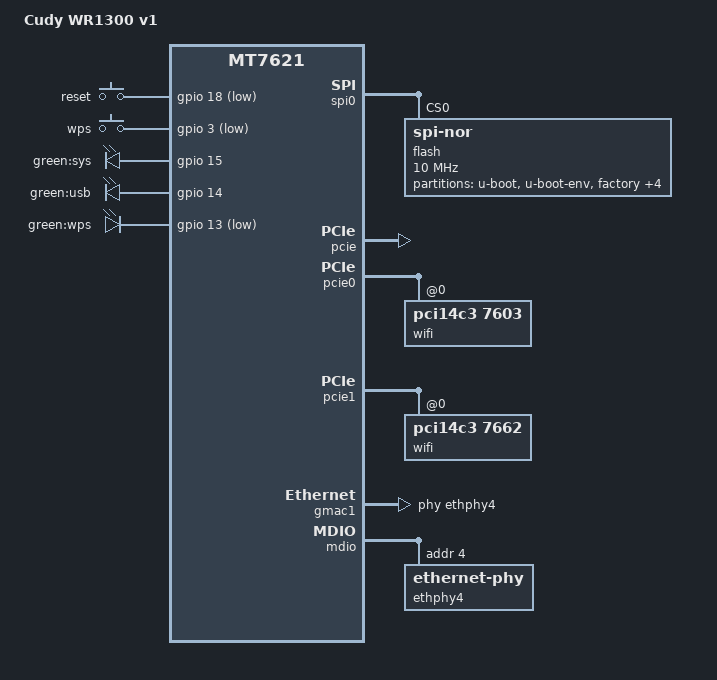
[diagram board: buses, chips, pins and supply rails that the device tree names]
// SPDX-License-Identifier: GPL-2.0-or-later OR MIT

#include "mt7621.dtsi"

#include <dt-bindings/input/input.h>
#include <dt-bindings/gpio/gpio.h>

/ {
	compatible = "cudy,wr1300-v1", "mediatek,mt7621-soc";
	model = "Cudy WR1300 v1";

	aliases {
		led-boot = &led_sys;
		led-failsafe = &led_sys;
		led-running = &led_sys;
		led-upgrade = &led_sys;
		label-mac-device = &gmac0;
	};

	chosen {
		bootargs = "console=ttyS0,115200";
	};

	keys {
		compatible = "gpio-keys";

		reset {
			label = "reset";
			gpios = <&gpio 18 GPIO_ACTIVE_LOW>;
			linux,code = <KEY_RESTART>;
		};

		wps {
			label = "wps";
			gpios = <&gpio 3 GPIO_ACTIVE_LOW>;
			linux,code = <KEY_WPS_BUTTON>;
		};
	};

	leds {
		compatible = "gpio-leds";

		led_sys: sys {
			label = "green:sys";
			gpios = <&gpio 15 GPIO_ACTIVE_HIGH>;
		};

		usb {
			label = "green:usb";
			gpios = <&gpio 14 GPIO_ACTIVE_HIGH>;
			trigger-sources = <&xhci_ehci_port1>, <&ehci_port2>;
			linux,default-trigger = "usbport";
		};

		wps {
			label = "green:wps";
			gpios = <&gpio 13 GPIO_ACTIVE_LOW>;
		};
	};
};

&spi0 {
	status = "okay";

	flash@0 {
		compatible = "jedec,spi-nor";
		reg = <0>;
		spi-max-frequency = <10000000>;

		partitions {
			compatible = "fixed-partitions";
			#address-cells = <1>;
			#size-cells = <1>;

			partition@0 {
				label = "u-boot";
				reg = <0x0 0x30000>;
				read-only;
			};

			partition@30000 {
				label = "u-boot-env";
				reg = <0x30000 0x10000>;
				read-only;
			};

			factory: partition@40000 {
				label = "factory";
				reg = <0x40000 0x10000>;
				read-only;
			};

			partition@50000 {
				compatible = "denx,uimage";
				label = "firmware";
				reg = <0x50000 0xf80000>;
			};

			partition@fd0000 {
				label = "debug";
				reg = <0xfd0000 0x10000>;
				read-only;
			};

			partition@fe0000 {
				label = "backup";
				reg = <0xfe0000 0x10000>;
				read-only;
			};

			bdinfo: partition@ff0000 {
				label = "bdinfo";
				reg = <0xff0000 0x10000>;
				read-only;
			};
		};
	};
};

&pcie {
	status = "okay";
};

&pcie0 {
	wifi@0,0 {
		compatible = "pci14c3,7603";
		reg = <0x0000 0 0 0 0>;
		mediatek,mtd-eeprom = <&factory 0x0000>;
		nvmem-cells = <&macaddr_bdinfo_de00>;
		nvmem-cell-names = "mac-address";
		ieee80211-freq-limit = <2400000 2500000>;

		led {
			led-active-low;
		};
	};
};

&pcie1 {
	wifi@0,0 {
		compatible = "pci14c3,7662";
		reg = <0x0000 0 0 0 0>;
		mediatek,mtd-eeprom = <&factory 0x8000>;
		nvmem-cells = <&macaddr_bdinfo_de00>;
		nvmem-cell-names = "mac-address";
		mac-address-increment = <2>;
		ieee80211-freq-limit = <5000000 6000000>;

		led {
			led-sources = <2>;
			led-active-low;
		};
	};
};

&gmac0 {
	nvmem-cells = <&macaddr_bdinfo_de00>;
	nvmem-cell-names = "mac-address";
};

&gmac1 {
	status = "okay";
	label = "wan";
	phy-handle = <&ethphy4>;

	nvmem-cells = <&macaddr_bdinfo_de00>;
	nvmem-cell-names = "mac-address";
	mac-address-increment = <1>;
};

&mdio {
	ethphy4: ethernet-phy@4 {
		reg = <4>;
	};
};

&switch0 {
	ports {
		port@0 {
			status = "okay";
			label = "lan4";
		};

		port@1 {
			status = "okay";
			label = "lan3";
		};

		port@2 {
			status = "okay";
			label = "lan2";
		};

		port@3 {
			status = "okay";
			label = "lan1";
		};
	};
};

&state_default {
	gpio {
		groups = "wdt", "i2c", "jtag";
		function = "gpio";
	};
};

&bdinfo {
	compatible = "nvmem-cells";
	#address-cells = <1>;
	#size-cells = <1>;

	macaddr_bdinfo_de00: macaddr@de00 {
		reg = <0xde00 0x6>;
	};
};
